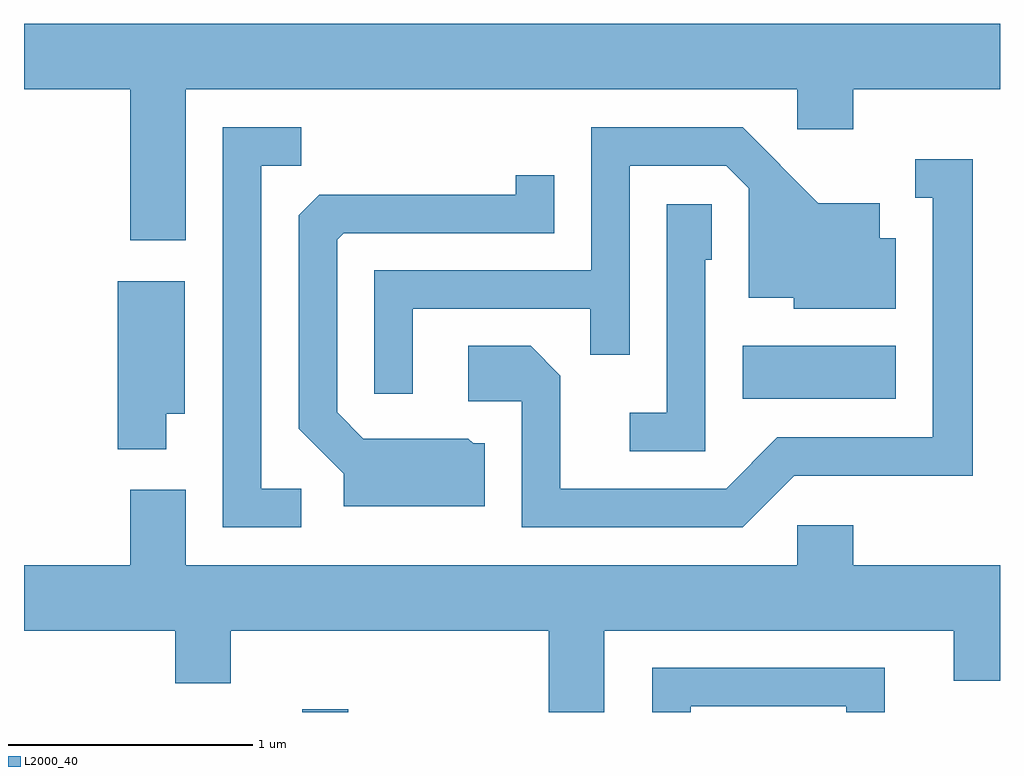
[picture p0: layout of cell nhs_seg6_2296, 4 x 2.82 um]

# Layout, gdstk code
import gdstk
lib = gdstk.Library(unit=1e-6, precision=1e-09)
def R(c, l, rs):  # rectangles x0, y0, x1, y1
    for r in rs: c.add(gdstk.rectangle(r[:2], r[2:], *l))
def P(c, l, *ps):  # polygons
    for p in ps: c.add(gdstk.Polygon(p, *l))
L2000_40 = (2000, 40)

nhs_seg6_2296 = lib.new_cell('nhs_seg6_2296')
R(nhs_seg6_2296, L2000_40, [(256.751,1534.162,256.939,1534.174), (258.556,1535.446,259.184,1535.664)])
P(nhs_seg6_2296, L2000_40, [(256.274,1536.716),(258.781,1536.716),(258.781,1536.551),(259.009,1536.551),(259.009,1536.716),(259.611,1536.716),(259.611,1536.984),(255.611,1536.984),(255.611,1536.716),(256.046,1536.716),(256.046,1536.096),(256.274,1536.096)],
  [(257.204,1535.816),(257.931,1535.816),(257.931,1535.628),(258.094,1535.628),(258.094,1536.401),(258.489,1536.401),(258.581,1536.309),(258.581,1535.861),(258.766,1535.861),(258.766,1535.816),(259.184,1535.816),(259.184,1536.104),(259.119,1536.104),(259.119,1536.249),(258.867,1536.249),(258.557,1536.559),(257.936,1536.559),(257.936,1535.974),(257.046,1535.974),(257.046,1535.468),(257.204,1535.468)],
  [(256.748,1535.079),(256.584,1535.079),(256.584,1536.401),(256.748,1536.401),(256.748,1536.559),(256.426,1536.559),(256.426,1534.921),(256.748,1534.921)],
  [(258.767,1535.131),(259.499,1535.131),(259.499,1536.429),(259.263,1536.429),(259.263,1536.271),(259.336,1536.271),(259.336,1535.289),(258.699,1535.289),(258.489,1535.079),(257.809,1535.079),(257.809,1535.542),(257.687,1535.664),(257.431,1535.664),(257.431,1535.436),(257.651,1535.436),(257.651,1534.921),(258.557,1534.921)],
  [(257.499,1535.264),(257.452,1535.264),(257.432,1535.284),(257.002,1535.284),(256.894,1535.392),(256.894,1536.099),(256.921,1536.126),(257.784,1536.126),(257.784,1536.363),(257.626,1536.363),(257.626,1536.284),(256.822,1536.284),(256.736,1536.199),(256.736,1535.324),(256.921,1535.139),(256.921,1535.006),(257.499,1535.006)],
  [(258.404,1536.016),(258.429,1536.016),(258.429,1536.244),(258.246,1536.244),(258.246,1535.389),(258.093,1535.389),(258.093,1535.231),(258.404,1535.231)],
  [(256.194,1535.386),(256.269,1535.386),(256.269,1535.929),(255.996,1535.929),(255.996,1535.241),(256.194,1535.241)],
  [(257.989,1534.496),(259.421,1534.496),(259.421,1534.291),(259.611,1534.291),(259.611,1534.764),(259.009,1534.764),(259.009,1534.929),(258.781,1534.929),(258.781,1534.764),(256.274,1534.764),(256.274,1535.074),(256.046,1535.074),(256.046,1534.764),(255.611,1534.764),(255.611,1534.496),(256.231,1534.496),(256.231,1534.281),(256.459,1534.281),(256.459,1534.496),(257.761,1534.496),(257.761,1534.162),(257.989,1534.162)],
  [(258.344,1534.186),(258.981,1534.186),(258.981,1534.162),(259.139,1534.162),(259.139,1534.344),(258.186,1534.344),(258.186,1534.162),(258.344,1534.162)])

lib.write_gds('nhs_seg6_2296.gds')
